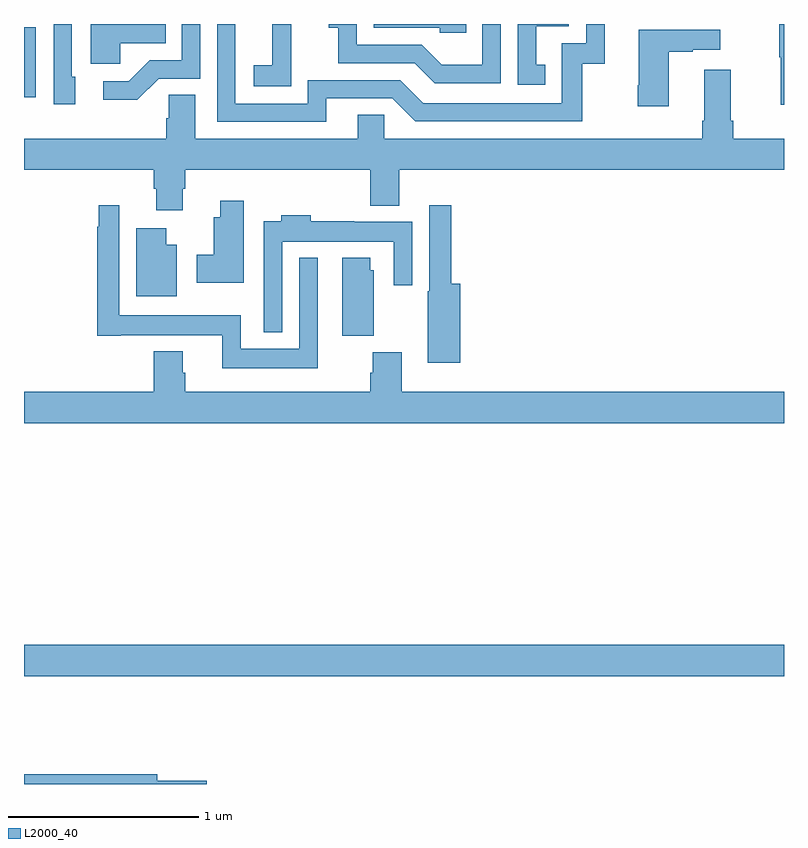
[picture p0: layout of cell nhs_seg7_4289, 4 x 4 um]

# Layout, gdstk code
import gdstk
lib = gdstk.Library(unit=1e-6, precision=1e-09)
def R(c, l, rs):  # rectangles x0, y0, x1, y1
    for r in rs: c.add(gdstk.rectangle(r[:2], r[2:], *l))
def P(c, l, *ps):  # polygons
    for p in ps: c.add(gdstk.Polygon(p, *l))
L2000_40 = (2000, 40)

nhs_seg7_4289 = lib.new_cell('nhs_seg7_4289')
R(nhs_seg7_4289, L2000_40, [(381,1048.568,385,1048.732), (381,1051.614,381.063,1051.984)])
P(nhs_seg7_4289, L2000_40, [(382.407,1051.879),(382.406,1051.879),(382.406,1052),(382.307,1052),(382.307,1051.783),(382.209,1051.783),(382.209,1051.673),(382.407,1051.673)],
  [(382.591,1051.608),(382.938,1051.608),(383.058,1051.488),(383.938,1051.488),(383.938,1051.791),(384.056,1051.791),(384.056,1052),(383.958,1052),(383.958,1051.899),(383.829,1051.899),(383.829,1051.584),(383.1,1051.584),(382.98,1051.704),(382.494,1051.704),(382.494,1051.581),(382.113,1051.581),(382.113,1052),(382.017,1052),(382.017,1051.485),(382.591,1051.485)],
  [(381.271,1051.722),(381.252,1051.722),(381.252,1052),(381.156,1052),(381.156,1051.578),(381.271,1051.578)],
  [(385,1052),(384.975,1052),(384.975,1051.824),(384.982,1051.824),(384.982,1051.575),(385,1051.575)],
  [(381.507,1051.898),(381.746,1051.898),(381.746,1052),(381.35,1052),(381.35,1051.79),(381.507,1051.79)],
  [(383.508,1052),(383.412,1052),(383.412,1051.786),(383.198,1051.786),(383.094,1051.89),(382.752,1051.89),(382.752,1052),(382.605,1052),(382.605,1051.979),(382.654,1051.979),(382.654,1051.794),(383.057,1051.794),(383.162,1051.689),(383.508,1051.689)],
  [(383.744,1051.785),(383.695,1051.785),(383.695,1051.989),(383.868,1051.989),(383.868,1052),(383.598,1052),(383.598,1051.68),(383.744,1051.68)],
  [(381.708,1051.713),(381.927,1051.713),(381.927,1052),(381.831,1052),(381.831,1051.809),(381.662,1051.809),(381.551,1051.698),(381.417,1051.698),(381.417,1051.601),(381.595,1051.601)],
  [(383.327,1052),(382.842,1052),(382.842,1051.98),(383.187,1051.98),(383.187,1051.953),(383.327,1051.953)],
  [(384.394,1051.855),(384.521,1051.855),(384.521,1051.865),(384.664,1051.865),(384.664,1051.969),(384.236,1051.969),(384.236,1051.678),(384.229,1051.678),(384.229,1051.566),(384.394,1051.566)],
  [(381.835,1051.134),(381.848,1051.134),(381.848,1051.232),(382.823,1051.232),(382.823,1051.043),(382.975,1051.043),(382.975,1051.232),(385,1051.232),(385,1051.396),(384.734,1051.396),(384.734,1051.492),(384.721,1051.492),(384.721,1051.759),(384.581,1051.759),(384.581,1051.492),(384.569,1051.492),(384.569,1051.396),(382.896,1051.396),(382.896,1051.523),(382.757,1051.523),(382.757,1051.396),(381.901,1051.396),(381.901,1051.628),(381.762,1051.628),(381.762,1051.505),(381.749,1051.505),(381.749,1051.396),(381,1051.396),(381,1051.232),(381.683,1051.232),(381.683,1051.134),(381.695,1051.134),(381.695,1051.02),(381.835,1051.02)],
  [(382.156,1051.069),(382.034,1051.069),(382.034,1050.982),(381.998,1050.982),(381.998,1050.786),(381.909,1050.786),(381.909,1050.638),(382.156,1050.638)],
  [(382.546,1050.769),(382.449,1050.769),(382.449,1050.292),(382.14,1050.292),(382.14,1050.466),(381.501,1050.466),(381.501,1051.045),(381.393,1051.045),(381.393,1050.932),(381.385,1050.932),(381.385,1050.36),(381.508,1050.36),(381.508,1050.362),(382.043,1050.362),(382.043,1050.188),(382.546,1050.188)],
  [(383.297,1050.634),(383.249,1050.634),(383.249,1051.045),(383.133,1051.045),(383.133,1050.594),(383.126,1050.594),(383.126,1050.218),(383.297,1050.218)],
  [(382.359,1050.854),(382.947,1050.854),(382.947,1050.624),(383.043,1050.624),(383.043,1050.958),(382.739,1050.958),(382.739,1050.961),(382.508,1050.961),(382.508,1050.994),(382.355,1050.994),(382.355,1050.961),(382.263,1050.961),(382.263,1050.377),(382.359,1050.377)],
  [(381.805,1050.838),(381.748,1050.838),(381.748,1050.925),(381.59,1050.925),(381.59,1050.566),(381.805,1050.566)],
  [(382.84,1050.705),(382.822,1050.705),(382.822,1050.769),(382.676,1050.769),(382.676,1050.358),(382.84,1050.358)],
  [(385,1050.064),(382.988,1050.064),(382.988,1050.273),(382.835,1050.273),(382.835,1050.164),(382.823,1050.164),(382.823,1050.064),(381.848,1050.064),(381.848,1050.165),(381.835,1050.165),(381.835,1050.277),(381.683,1050.277),(381.683,1050.064),(381,1050.064),(381,1049.9),(385,1049.9)],
  [(381.961,1048.016),(381.7,1048.016),(381.7,1048.052),(381,1048.052),(381,1048),(381.961,1048)])

lib.write_gds('nhs_seg7_4289.gds')
